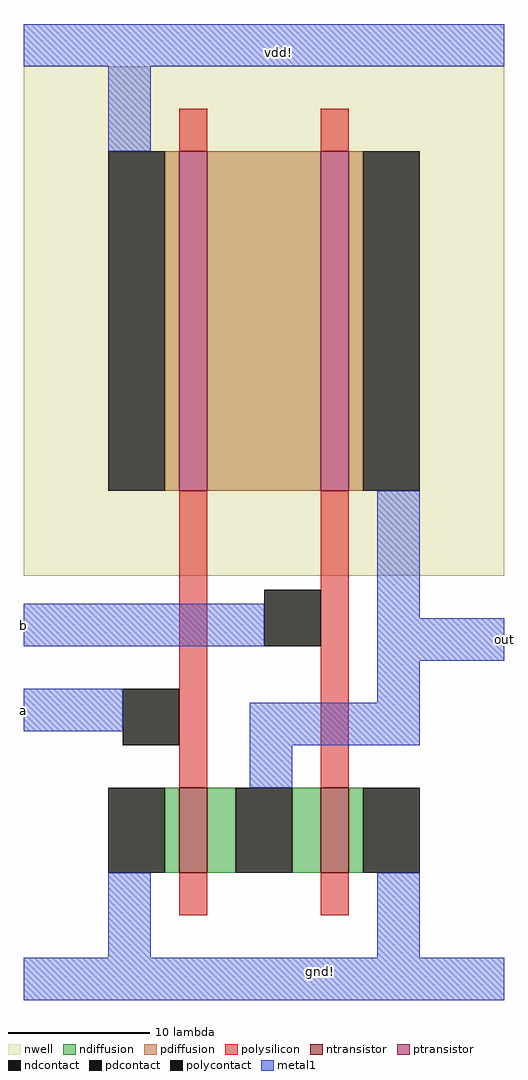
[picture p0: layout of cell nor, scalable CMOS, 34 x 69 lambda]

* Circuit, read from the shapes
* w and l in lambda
.subckt nor a b gnd! out vdd!
M1 out a gnd! VSUBS nfet w=6 l=2
M2 gnd! b out VSUBS nfet w=6 l=2
M3 n1 a vdd! n2 pfet w=24 l=2
M4 out b n1 n2 pfet w=24 l=2
.ends

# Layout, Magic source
magic
tech scmos
<< nwell >>
rect 0 0 34 36
<< ntransistor >>
rect 11 -21 13 -15
rect 21 -21 23 -15
<< ptransistor >>
rect 11 6 13 30
rect 21 6 23 30
<< ndiffusion >>
rect 10 -21 11 -15
rect 13 -21 15 -15
rect 19 -21 21 -15
rect 23 -21 24 -15
<< pdiffusion >>
rect 10 6 11 30
rect 13 6 21 30
rect 23 6 24 30
<< ndcontact >>
rect 6 -21 10 -15
rect 15 -21 19 -15
rect 24 -21 28 -15
<< pdcontact >>
rect 6 6 10 30
rect 24 6 28 30
<< polysilicon >>
rect 11 30 13 33
rect 21 30 23 33
rect 11 -15 13 6
rect 21 -15 23 6
rect 11 -24 13 -21
rect 21 -24 23 -21
<< polycontact >>
rect 7 -12 11 -8
rect 17 -5 21 -1
<< metal1 >>
rect 0 36 34 39
rect 6 30 9 36
rect 0 -5 17 -2
rect 25 -3 28 6
rect 25 -6 34 -3
rect 0 -11 7 -8
rect 25 -9 28 -6
rect 16 -12 28 -9
rect 16 -15 19 -12
rect 6 -27 9 -21
rect 25 -27 28 -21
rect 0 -30 34 -27
<< labels >>
rlabel metal1 18 37 18 37 5 vdd!
rlabel metal1 34 -6 34 -3 7 out
rlabel metal1 21 -28 21 -28 1 gnd!
rlabel metal1 0 -5 0 -2 3 b
rlabel metal1 0 -11 0 -8 3 a
<< end >>
